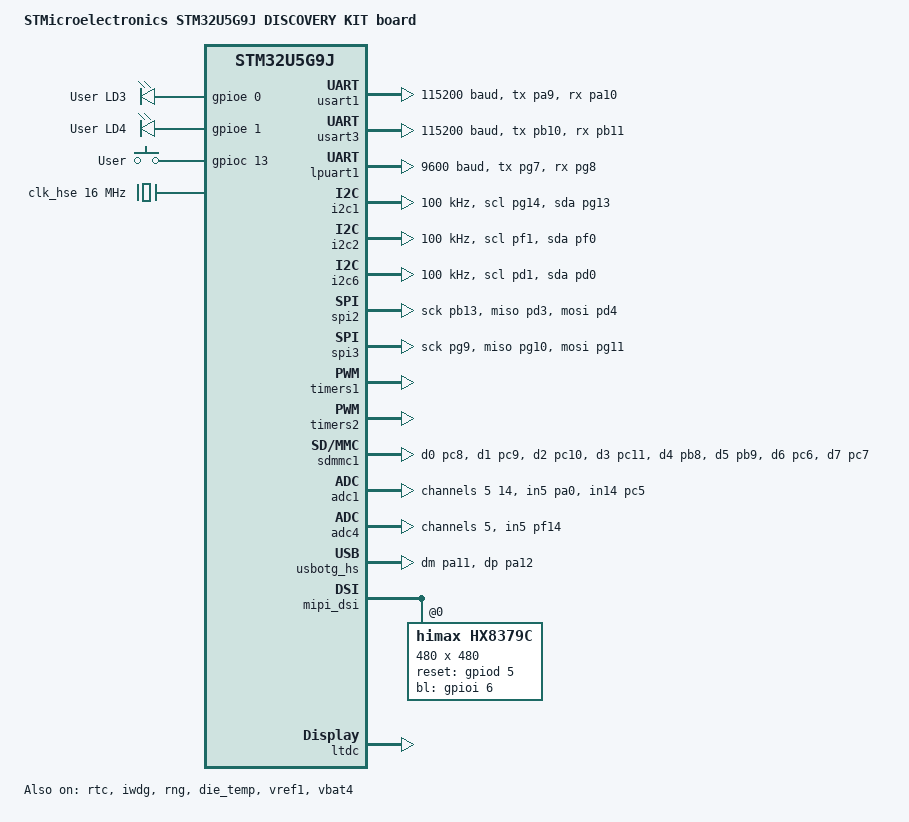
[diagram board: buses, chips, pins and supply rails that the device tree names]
/*
 * Copyright (c) 2025 Charles Dias
 *
 * SPDX-License-Identifier: Apache-2.0
 */

/dts-v1/;
#include <st/u5/stm32u5g9Xj.dtsi>
#include <st/u5/stm32u5g9njhxq-pinctrl.dtsi>
#include <zephyr/dt-bindings/input/input-event-codes.h>
#include <zephyr/dt-bindings/display/panel.h>
#include <zephyr/dt-bindings/mipi_dsi/mipi_dsi.h>

/ {
	model = "STMicroelectronics STM32U5G9J DISCOVERY KIT board";
	compatible = "st,stm32u5g9j-dk1";

	chosen {
		zephyr,console = &usart1;
		zephyr,shell-uart = &usart1;
		zephyr,sram = &sram0;
		zephyr,flash = &flash0;
		zephyr,code-partition = &slot0_partition;
		zephyr,display = &ltdc;
	};

	leds {
		compatible = "gpio-leds";

		green_led_0: led_3 {
			gpios = <&gpioe 0 GPIO_ACTIVE_HIGH>;
			label = "User LD3";
		};

		red_led_0: led_4 {
			gpios = <&gpioe 1 GPIO_ACTIVE_HIGH>;
			label = "User LD4";
		};
	};

	gpio_keys {
		compatible = "gpio-keys";

		user_button: button_0 {
			label = "User";
			gpios = <&gpioc 13 (GPIO_ACTIVE_HIGH | GPIO_PULL_DOWN)>;
			zephyr,code = <INPUT_KEY_0>;
		};
	};

	aliases {
		led0 = &green_led_0;
		led1 = &red_led_0;
		sw0 = &user_button;
		sdhc0 = &sdmmc1;
		watchdog0 = &iwdg;
		die-temp0 = &die_temp;
		volt-sensor0 = &vref1;
		volt-sensor1 = &vbat4;
	};
};

&clk_hsi48 {
	status = "okay";
};

&clk_hse {
	clock-frequency = <DT_FREQ_M(16)>;
	status = "okay";
};

&clk_msis {
	status = "okay";
	msi-range = <4>; /* 4MHz (reset value) */
	msi-pll-mode;
};

&clk_lse {
	status = "okay";
};

&pll1 {
	div-m = <1>;
	mul-n = <80>;
	div-p = <2>;
	div-q = <2>;
	div-r = <2>;
	clocks = <&clk_msis>;
	status = "okay";
};

&pll3 {
	div-m = <4>;    /* Input divider: 16MHz / 4 = 4MHz */
	mul-n = <125>;  /* Multiplier: 4MHz * 125 = 500MHz VCO */
	div-p = <8>;    /* P output: 500MHz / 8 = 62.5MHz (for DSI clock lane) */
	div-q = <2>;    /* Q output: 500MHz / 2 = 250MHz */
	div-r = <24>;   /* R output: 500MHz / 24 = 20.83MHz (for LTDC pixel clock) */
	clocks = <&clk_hse>;
	status = "okay";
};

&rcc {
	clocks = <&pll1>;
	clock-frequency = <DT_FREQ_M(160)>;
	ahb-prescaler = <1>;
	apb1-prescaler = <1>;
	apb2-prescaler = <1>;
	apb3-prescaler = <1>;
};

&usart1 {
	pinctrl-0 = <&usart1_tx_pa9 &usart1_rx_pa10>;
	pinctrl-names = "default";
	current-speed = <115200>;
	status = "okay";
};

&usart3 {
	pinctrl-0 = <&usart3_tx_pb10 &usart3_rx_pb11>;
	pinctrl-names = "default";
	current-speed = <115200>;
	status = "okay";
};

&lpuart1 {
	pinctrl-0 = <&lpuart1_tx_pg7 &lpuart1_rx_pg8>;
	pinctrl-names = "default";
	current-speed = <9600>;
	status = "okay";
};

&i2c1 {
	pinctrl-0 = <&i2c1_scl_pg14 &i2c1_sda_pg13>;
	pinctrl-names = "default";
	status = "okay";
	clock-frequency = <I2C_BITRATE_STANDARD>;
};

&i2c2 {
	pinctrl-0 = <&i2c2_scl_pf1 &i2c2_sda_pf0>;
	pinctrl-names = "default";
	status = "okay";
	clock-frequency = <I2C_BITRATE_STANDARD>;
};

&i2c6 {
	pinctrl-0 = <&i2c6_scl_pd1 &i2c6_sda_pd0>;
	pinctrl-names = "default";
	status = "okay";
	clock-frequency = <I2C_BITRATE_STANDARD>;
};

&spi2 {
	pinctrl-0 = <&spi2_sck_pb13 &spi2_miso_pd3 &spi2_mosi_pd4>;
	pinctrl-names = "default";
	cs-gpios = <&gpiob 12 (GPIO_ACTIVE_LOW | GPIO_PULL_UP)>;
	status = "okay";
};

&spi3 {
	pinctrl-0 = <&spi3_sck_pg9 &spi3_miso_pg10 &spi3_mosi_pg11>;
	pinctrl-names = "default";
	cs-gpios = <&gpiog 15 (GPIO_ACTIVE_LOW | GPIO_PULL_UP)>;
	status = "okay";
};

&timers1 {
	st,prescaler = <1>;
	status = "okay";

	pwm1: pwm {
		status = "okay";
		pinctrl-0 = <&tim1_ch2_pe11>;
		pinctrl-names = "default";
	};
};

&timers2 {
	st,prescaler = <1>;
	status = "okay";

	pwm2: pwm {
		status = "okay";
		pinctrl-0 = <&tim2_ch4_pa3>;
		pinctrl-names = "default";
	};
};

/* Connected to onboard 4-Gbyte eMMC flash memory */
&sdmmc1 {
	pinctrl-0 = <&sdmmc1_d0_pc8 &sdmmc1_d1_pc9
		&sdmmc1_d2_pc10 &sdmmc1_d3_pc11
		&sdmmc1_d4_pb8 &sdmmc1_d5_pb9
		&sdmmc1_d6_pc6 &sdmmc1_d7_pc7
		&sdmmc1_ck_pc12 &sdmmc1_cmd_pd2>;
	pinctrl-names = "default";
	disk-name = "SD";
	status = "okay";
};

&adc1 {
	pinctrl-0 = <&adc1_in5_pa0 &adc1_in14_pc5>;
	pinctrl-names = "default";
	st,adc-clock-source = "ASYNC";
	st,adc-prescaler = <1>;
	status = "okay";

	#address-cells = <1>;
	#size-cells = <0>;

	channel@5 {
		reg = <0x5>;
		zephyr,gain = "ADC_GAIN_1";
		zephyr,reference = "ADC_REF_INTERNAL";
		zephyr,acquisition-time = <ADC_ACQ_TIME_DEFAULT>;
		zephyr,resolution = <14>;
	};

	channel@e {
		reg = <0xe>;
		zephyr,gain = "ADC_GAIN_1";
		zephyr,reference = "ADC_REF_INTERNAL";
		zephyr,acquisition-time = <ADC_ACQ_TIME_DEFAULT>;
		zephyr,resolution = <14>;
	};
};

&adc4 {
	pinctrl-0 = <&adc4_in5_pf14>;
	pinctrl-names = "default";
	st,adc-clock-source = "ASYNC";
	st,adc-prescaler = <1>;
	status = "okay";

	#address-cells = <1>;
	#size-cells = <0>;

	channel@5 {
		reg = <0x5>;
		zephyr,gain = "ADC_GAIN_1";
		zephyr,reference = "ADC_REF_INTERNAL";
		zephyr,acquisition-time = <ADC_ACQ_TIME_DEFAULT>;
		zephyr,resolution = <12>;
	};
};

zephyr_udc0: &usbotg_hs {
	pinctrl-0 = <&usb_otg_hs_dm_pa11 &usb_otg_hs_dp_pa12>;
	pinctrl-names = "default";
	status = "okay";
};

&flash0 {
	partitions {
		compatible = "fixed-partitions";
		#address-cells = <1>;
		#size-cells = <1>;

		/*
		 * Following flash partition is dedicated to the use of bootloader
		 */
		boot_partition: partition@0 {
			label = "mcuboot";
			reg = <0x00000000 DT_SIZE_K(64)>;
		};

		slot0_partition: partition@10000 {
			label = "image-0";
			reg = <0x00010000 DT_SIZE_K(1952)>;
		};

		slot1_partition: partition@1f8000 {
			label = "image-1";
			reg = <0x001f8000 DT_SIZE_K(1960)>;
		};

		storage_partition: partition@3e2000 {
			label = "storage";
			reg = <0x003e2000 DT_SIZE_K(120)>;
		};
	};
};

&rtc {
	clocks =  <&rcc STM32_CLOCK_BUS_APB3 0x00200000>,
			<&rcc STM32_SRC_LSE RTC_SEL(1)>;
	status = "okay";
};

&iwdg {
	status = "okay";
};

&rng {
	status = "okay";
};

&die_temp {
	status = "okay";
};

&vref1 {
	status = "okay";
};

&vbat4 {
	status = "okay";
};

&mipi_dsi {
	status = "okay";

	pll-ndiv = <125>;       /* PLLDSINDIV = 125 */
	pll-idf = <4>;          /* DSI_PLL_IN_DIV4 */
	pll-odf = <2>;          /* DSI_PLL_OUT_DIV2 */
	pll-vco-range = <1>;    /* DSI_DPHY_VCO_FRANGE_800MHZ_1GHZ */
	pll-charge-pump = <0>;  /* DSI_PLL_CHARGE_PUMP_2000HZ_4400HZ */
	pll-tuning = <0>;       /* DSI_PLL_LOOP_FILTER_2000HZ_4400HZ */

	phy-freq-range = <8>;       /* DSI_DPHY_FRANGE_450MHZ_510MHZ */
	phy-low-power-offset = <0>; /* PHY_LP_OFFSSET_0_CLKP */

	hs-active-high;
	vs-active-high;
	de-active-high;
	largest-packet-size = <0>;

	host-timeouts = <1>,     /* TimeoutCkdiv */
	                <0>,     /* HighSpeedTransmissionTimeout */
	                <0>,     /* LowPowerReceptionTimeout */
	                <0>,     /* HighSpeedReadTimeout */
	                <0>,     /* LowPowerReadTimeout */
	                <0>,     /* HighSpeedWriteTimeout */
	                <0>,     /* HighSpeedWritePrespMode */
	                <0>,     /* LowPowerWriteTimeout */
	                <0>;     /* BTATimeout */

	phy-timings = <11>,   /* ClockLaneHS2LPTime */
	              <40>,   /* ClockLaneLP2HSTime */
	              <12>,   /* DataLaneHS2LPTime */
	              <23>,   /* DataLaneLP2HSTime */
	              <0>,    /* DataLaneMaxReadTime */
	              <7>;    /* StopWaitTime */

	hx8379c: hx8379c@0 {
		status = "okay";
		compatible = "himax,hx8379c";
		reg = <0x0>; /* Virtual channel 0 */
		width = <480>;
		height = <480>;
		data-lanes = <2>;
		pixel-format = <MIPI_DSI_PIXFMT_RGB888>;

		reset-gpios = <&gpiod 5 GPIO_ACTIVE_HIGH>;
		bl-gpios = <&gpioi 6 GPIO_ACTIVE_HIGH>;

		display-timings {
			compatible = "zephyr,panel-timing";
			hsync-active = <1>;
			vsync-active = <1>;
			de-active = <0>;
			pixelclk-active = <0>;
			hsync-len = <2>;
			hback-porch = <1>;
			hfront-porch = <1>;
			vsync-len = <1>;
			vback-porch = <13>;
			vfront-porch = <50>;
		};
	};
};

&ltdc {
	width = <480>;
	height = <480>;
	pixel-format = <PANEL_PIXEL_FORMAT_RGB_888>;
	status = "okay";

	def-back-color-red = <0>;
	def-back-color-green = <0>;
	def-back-color-blue = <0>;

	/* himax,hx8379c */
	display-timings {
		compatible = "zephyr,panel-timing";
		hsync-active = <1>;
		vsync-active = <1>;
		de-active = <0>;
		pixelclk-active = <0>;
		hsync-len = <2>;
		hback-porch = <1>;
		hfront-porch = <1>;
		vsync-len = <1>;
		vback-porch = <13>;
		vfront-porch = <50>;
	};
};
